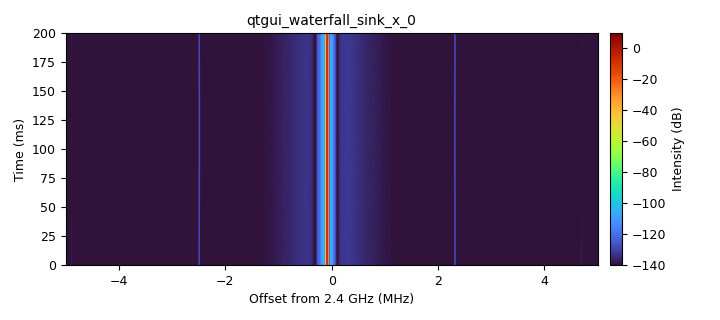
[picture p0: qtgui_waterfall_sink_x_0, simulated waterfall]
<?xml version='1.0' encoding='utf-8'?>
<?grc format='1' created='3.7.12'?>
<flow_graph>
<block>
<key>options</key>
<param><key>id</key><value>top_block</value></param>
<param><key>generate_options</key><value>qt_gui</value></param>
</block>
<block>
<key>variable_qtgui_range</key>
<param><key>id</key><value>rf_freq</value></param>
<param><key>value</key><value>2400000000</value></param>
<param><key>label</key><value>rf_freq</value></param>
<param><key>orient</key><value>Qt.Horizontal</value></param>
<param><key>start</key><value>70000000</value></param>
<param><key>step</key><value>100000000</value></param>
<param><key>stop</key><value>6000000000</value></param>
<param><key>rangeType</key><value>int</value></param>
</block>
<block>
<key>variable</key>
<param><key>id</key><value>samp_rate</value></param>
<param><key>value</key><value>10000000</value></param>
</block>
<block>
<key>analog_sig_source_x</key>
<param><key>id</key><value>analog_sig_source_x_0</value></param>
<param><key>amp</key><value>1</value></param>
<param><key>freq</key><value>1e5</value></param>
<param><key>offset</key><value>0</value></param>
<param><key>type</key><value>float</value></param>
<param><key>samp_rate</key><value>samp_rate</value></param>
<param><key>waveform</key><value>analog.GR_SIN_WAVE</value></param>
</block>
<block>
<key>analog_sig_source_x</key>
<param><key>id</key><value>analog_sig_source_x_1</value></param>
<param><key>amp</key><value>1</value></param>
<param><key>freq</key><value>1e5</value></param>
<param><key>offset</key><value>0</value></param>
<param><key>type</key><value>float</value></param>
<param><key>samp_rate</key><value>samp_rate</value></param>
<param><key>waveform</key><value>analog.GR_COS_WAVE</value></param>
</block>
<block>
<key>blocks_float_to_complex</key>
<param><key>id</key><value>blocks_float_to_complex_0</value></param>
</block>
<block>
<key>qtgui_waterfall_sink_x</key>
<param><key>id</key><value>qtgui_waterfall_sink_x_0</value></param>
<param><key>bw</key><value>samp_rate</value></param>
<param><key>fc</key><value>rf_freq</value></param>
<param><key>fftsize</key><value>1024</value></param>
<param><key>showports</key><value>True</value></param>
<param><key>type</key><value>complex</value></param>
<param><key>wintype</key><value>firdes.WIN_BLACKMAN_hARRIS</value></param>
</block>
<block>
<key>yunsdr_sink</key>
<param><key>id</key><value>yunsdr_sink_0</value></param>
<param><key>attenuation1</key><value>10</value></param>
<param><key>attenuation2</key><value>10</value></param>
<param><key>buffer_size</key><value>0x8000</value></param>
<param><key>auto_filter</key><value>True</value></param>
<param><key>filter</key><value></value></param>
<param><key>frequency</key><value>int(rf_freq)</value></param>
<param><key>rf_port_select</key><value>"A"</value></param>
<param><key>bandwidth</key><value>20000000</value></param>
<param><key>ref_clock</key><value>"internal"</value></param>
<param><key>samplerate</key><value>samp_rate</value></param>
<param><key>tx1_en</key><value>True</value></param>
<param><key>tx2_en</key><value>False</value></param>
<param><key>uri</key><value>192.168.0.135</value></param>
<param><key>vco</key><value>"auxdac1"</value></param>
</block>
<connection><source_block_id>analog_sig_source_x_0</source_block_id><sink_block_id>blocks_float_to_complex_0</sink_block_id><source_key>0</source_key><sink_key>0</sink_key></connection>
<connection><source_block_id>analog_sig_source_x_1</source_block_id><sink_block_id>blocks_float_to_complex_0</sink_block_id><source_key>0</source_key><sink_key>1</sink_key></connection>
<connection><source_block_id>blocks_float_to_complex_0</source_block_id><sink_block_id>qtgui_waterfall_sink_x_0</sink_block_id><source_key>0</source_key><sink_key>0</sink_key></connection>
<connection><source_block_id>blocks_float_to_complex_0</source_block_id><sink_block_id>yunsdr_sink_0</sink_block_id><source_key>0</source_key><sink_key>0</sink_key></connection>
</flow_graph>
